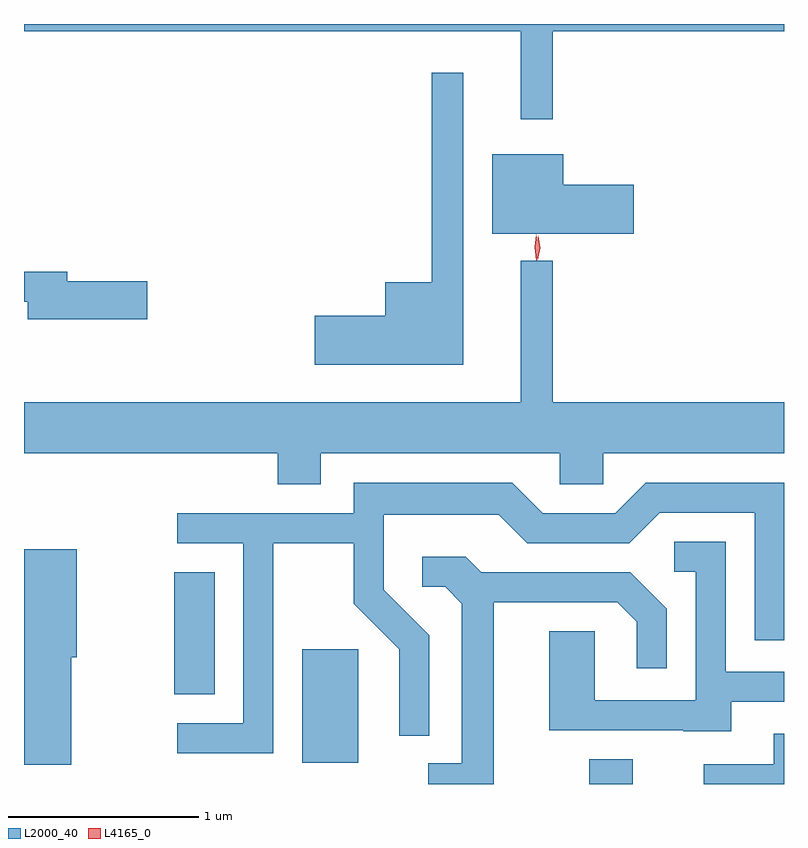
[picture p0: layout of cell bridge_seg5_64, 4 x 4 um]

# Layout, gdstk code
import gdstk
lib = gdstk.Library(unit=1e-6, precision=1e-09)
def R(c, l, rs):  # rectangles x0, y0, x1, y1
    for r in rs: c.add(gdstk.rectangle(r[:2], r[2:], *l))
def P(c, l, *ps):  # polygons
    for p in ps: c.add(gdstk.Polygon(p, *l))
L2000_40 = (2000, 40)
L4165_0 = (4165, 0)

bridge_seg5_64 = lib.new_cell('bridge_seg5_64')
R(bridge_seg5_64, L2000_40, [(1271.611,1463.934,1271.839,1464.064), (1270.101,1464.046,1270.394,1464.644), (1269.426,1464.406,1269.639,1465.049)])
P(bridge_seg5_64, L2000_40, [(1271.419,1467.896),(1272.636,1467.896),(1272.636,1467.934),(1268.636,1467.934),(1268.636,1467.896),(1271.251,1467.896),(1271.251,1467.433),(1271.419,1467.433)],
  [(1270.949,1467.678),(1270.781,1467.678),(1270.781,1466.574),(1270.536,1466.574),(1270.536,1466.399),(1270.166,1466.399),(1270.166,1466.141),(1270.949,1466.141)],
  [(1271.844,1467.089),(1271.474,1467.089),(1271.474,1467.249),(1271.101,1467.249),(1271.101,1466.831),(1271.844,1466.831)],
  [(1270.199,1465.676),(1271.456,1465.676),(1271.456,1465.511),(1271.684,1465.511),(1271.684,1465.676),(1272.636,1465.676),(1272.636,1465.944),(1271.419,1465.944),(1271.419,1466.688),(1271.251,1466.688),(1271.251,1465.944),(1268.636,1465.944),(1268.636,1465.676),(1269.971,1465.676),(1269.971,1465.511),(1270.199,1465.511)],
  [(1269.284,1466.579),(1268.864,1466.579),(1268.864,1466.629),(1268.636,1466.629),(1268.636,1466.471),(1268.656,1466.471),(1268.656,1466.381),(1269.284,1466.381)],
  [(1269.949,1465.201),(1270.371,1465.201),(1270.371,1464.884),(1270.611,1464.644),(1270.611,1464.188),(1270.769,1464.188),(1270.769,1464.717),(1270.529,1464.957),(1270.529,1465.351),(1271.134,1465.351),(1271.284,1465.201),(1271.822,1465.201),(1271.982,1465.361),(1272.481,1465.361),(1272.481,1464.691),(1272.636,1464.691),(1272.636,1465.519),(1271.909,1465.519),(1271.749,1465.359),(1271.367,1465.359),(1271.207,1465.519),(1270.371,1465.519),(1270.371,1465.359),(1269.443,1465.359),(1269.443,1465.201),(1269.791,1465.201),(1269.791,1464.254),(1269.443,1464.254),(1269.443,1464.096),(1269.949,1464.096)],
  [(1272.359,1464.366),(1272.636,1464.366),(1272.636,1464.524),(1272.329,1464.524),(1272.329,1465.209),(1272.058,1465.209),(1272.058,1465.051),(1272.171,1465.051),(1272.171,1464.374),(1271.639,1464.374),(1271.639,1464.739),(1271.401,1464.739),(1271.401,1464.216),(1272.105,1464.216),(1272.105,1464.211),(1272.359,1464.211)],
  [(1268.884,1464.601),(1268.914,1464.601),(1268.914,1465.169),(1268.636,1465.169),(1268.636,1464.036),(1268.884,1464.036)],
  [(1271.109,1464.891),(1271.759,1464.891),(1271.861,1464.789),(1271.861,1464.543),(1272.019,1464.543),(1272.019,1464.857),(1271.827,1465.049),(1271.042,1465.049),(1270.962,1465.129),(1270.733,1465.129),(1270.733,1464.971),(1270.854,1464.971),(1270.941,1464.884),(1270.941,1464.044),(1270.763,1464.044),(1270.763,1463.934),(1271.109,1463.934)],
  [(1272.636,1464.199),(1272.581,1464.199),(1272.581,1464.039),(1272.213,1464.039),(1272.213,1463.934),(1272.636,1463.934)])
P(bridge_seg5_64, L4165_0, [(1271.341,1466.693),(1271.34,1466.694),(1271.332,1466.756),(1271.342,1466.819),(1271.343,1466.82),(1271.343,1466.819),(1271.352,1466.756),(1271.341,1466.694)],
  [(1271.333,1466.69),(1271.333,1466.69),(1271.323,1466.758),(1271.331,1466.825),(1271.332,1466.826),(1271.332,1466.825),(1271.342,1466.758),(1271.334,1466.69)])

lib.write_gds('bridge_seg5_64.gds')
